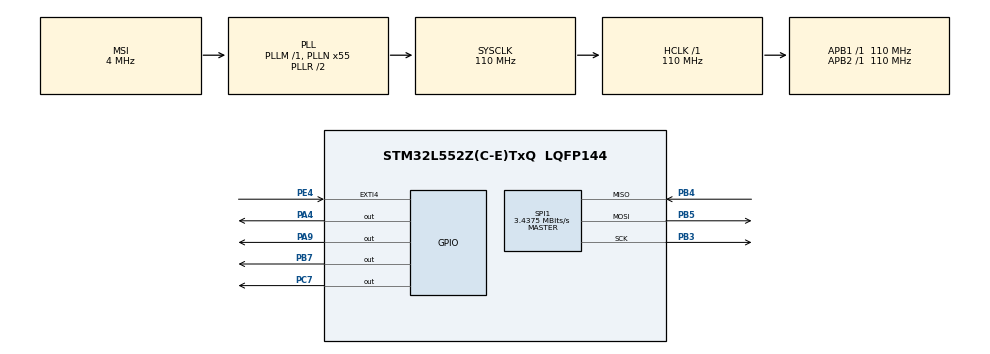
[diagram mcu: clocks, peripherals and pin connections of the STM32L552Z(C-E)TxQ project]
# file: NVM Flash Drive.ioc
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Mcu.Family=STM32L5
Mcu.Name=STM32L552Z(C-E)TxQ
Mcu.Package=LQFP144
Mcu.TrustZone=disable
NUCLEO-L552ZE-Q.BUTTON=1
NUCLEO-L552ZE-Q.LD1=true
NUCLEO-L552ZE-Q.LD2=true
NUCLEO-L552ZE-Q.LD3=true
NUCLEO-L552ZE-Q.VCP=true
NVIC.EXTI13_IRQn=true\:0\:0\:false\:false\:true\:false\:true\:true
NVIC.PriorityGroup=NVIC_PRIORITYGROUP_3
PA13\ (JTMS/SWDIO).Signal=DEBUG_JTMS-SWDIO
PA14\ (JTCK/SWCLK).Signal=DEBUG_JTCK-SWCLK
PA4.Signal=GPIO_Output
PA9.Signal=GPIO_Output
PB3\ (JTDO/TRACESWO).Mode=Full_Duplex_Master
PB3\ (JTDO/TRACESWO).Signal=SPI1_SCK
PB4\ (NJTRST).Mode=Full_Duplex_Master
PB4\ (NJTRST).Signal=SPI1_MISO
PB5.Mode=Full_Duplex_Master
PB5.Signal=SPI1_MOSI
PB7.Signal=GPIO_Output
PC13.Signal=PWR_WKUP2
PC14-OSC32_IN\ (PC14).Signal=RCC_OSC32_IN
PC15-OSC32_OUT\ (PC15).Signal=RCC_OSC32_OUT
PC7.Signal=GPIO_Output
PE4.GPIO_PuPd=GPIO_PULLDOWN
PE4.Signal=GPXTI4
PG7.Signal=LPUART1_TX
PG8.Signal=LPUART1_RX
ProjectManager.HeapSize=0x200
ProjectManager.StackSize=0x400
ProjectManager.TargetToolchain=STM32CubeIDE
RCC.ADCCLockSelection=RCC_ADCCLKSOURCE_SYSCLK
RCC.ADCFreq_Value=110000000
RCC.AHBFreq_Value=110000000
RCC.APB1Freq_Value=110000000
RCC.APB1TimFreq_Value=110000000
RCC.APB2Freq_Value=110000000
RCC.APB2TimFreq_Value=110000000
RCC.CK48CLockSelection=RCC_USBCLKSOURCE_HSI48
RCC.CortexFreq_Value=110000000
RCC.HCLKFreq_Value=110000000
RCC.HSE_VALUE=8000000
RCC.HSI48_VALUE=48000000
RCC.HSI_VALUE=16000000
RCC.LSE_VALUE=32768
RCC.MSI_VALUE=4000000
RCC.PLLN=55
RCC.PLLSAI1N=24
RCC.RTCClockSelection=RCC_RTCCLKSOURCE_LSE
RCC.SYSCLKFreq_VALUE=110000000
RCC.SYSCLKSource=RCC_SYSCLKSOURCE_PLLCLK
RCC.USBFreq_Value=48000000
RCC.VCOOutputFreq_Value=220000000
SPI1.BaudRatePrescaler=SPI_BAUDRATEPRESCALER_32
SPI1.CalculateBaudRate=3.4375 MBits/s
SPI1.Direction=SPI_DIRECTION_2LINES
SPI1.Mode=SPI_MODE_MASTER
SPI1.VirtualType=VM_MASTER
VP_ICACHE_VS_ICACHE.Mode=DirectMappedCache
VP_NUCLEO-L552ZE-Q_VS_BSP_COMMON.Mode=COMMON
VP_PWR_VS_DBSignals.Mode=DisableDeadBatterySignals
VP_PWR_VS_SECSignals.Mode=Security/Privilege
board=NUCLEO-L552ZE-Q

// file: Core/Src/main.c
/* USER CODE BEGIN Header */
/**
  ******************************************************************************
  * @file           : main.c
  * @brief          : Main program body
  ******************************************************************************
  * @attention
  *
  * Copyright (c) 2025 STMicroelectronics.
  * All rights reserved.
  *
  * This software is licensed under terms that can be found in the LICENSE file
  * in the root directory of this software component.
  * If no LICENSE file comes with this software, it is provided AS-IS.
  *
  ******************************************************************************
  */
/* USER CODE END Header */
#include "main.h"

/* USER CODE BEGIN Includes */
#include <stdlib.h>
#include <string.h>
#include <stdbool.h>

#include "nvm_driver.h"
#include "ftl.h"
/* USER CODE END Includes */

COM_InitTypeDef BspCOMInit;

SPI_HandleTypeDef hspi1;

void SystemClock_Config(void);
static void MX_GPIO_Init(void);
static void MX_ICACHE_Init(void);
static void MX_SPI1_Init(void);

int main(void)
{

  /* MCU Configuration--------------------------------------------------------*/

  /* Reset of all peripherals, Initializes the Flash interface and the Systick. */
  HAL_Init();

  /* Configure the system clock */
  SystemClock_Config();

  /* Initialize all configured peripherals */
  MX_GPIO_Init();
  MX_ICACHE_Init();
  MX_SPI1_Init();

  /* Initialize leds */
  BSP_LED_Init(LED_GREEN);
  BSP_LED_Init(LED_BLUE);
  BSP_LED_Init(LED_RED);

  /* Initialize USER push-button, will be used to trigger an interrupt each time it's pressed.*/
  BSP_PB_Init(BUTTON_USER, BUTTON_MODE_EXTI);

  /* Initialize COM1 port (115200, 8 bits (7-bit data + 1 stop bit), no parity */
  BspCOMInit.BaudRate   = 115200;
  BspCOMInit.WordLength = COM_WORDLENGTH_8B;
  BspCOMInit.StopBits   = COM_STOPBITS_1;
  BspCOMInit.Parity     = COM_PARITY_NONE;
  BspCOMInit.HwFlowCtl  = COM_HWCONTROL_NONE;
  if (BSP_COM_Init(COM1, &BspCOMInit) != BSP_ERROR_NONE)
  {
    Error_Handler();
  }

  /* Infinite loop */
  /* USER CODE BEGIN WHILE */

  HAL_Delay(1000);

//  ftl_format();

  // do this on every power cycle
  if (ftl_mount() != 0){
	  printf("there was an error in the mounting! \r\n");
  }
  else printf("=================== successfully mounted! ================= \r\n");
  ftl_state_view_t st = ftl_get_state();
	printf("head=%lu tail=%lu next=%lu next_id=%lu mounted=%d\r\n",
		   (unsigned long)st.head_idx,
		   (unsigned long)st.tail_idx,
		   (unsigned long)st.next_idx,
		   (unsigned long)st.next_id,
		   (int)st.mounted);
	test_update();

  printf("Test Complete\r\n");

  while (1)
  {
    /* USER CODE END WHILE */

  }
}

void SystemClock_Config(void)
{
  RCC_OscInitTypeDef RCC_OscInitStruct = {0};
  RCC_ClkInitTypeDef RCC_ClkInitStruct = {0};

  /** Configure the main internal regulator output voltage
  */
  if (HAL_PWREx_ControlVoltageScaling(PWR_REGULATOR_VOLTAGE_SCALE0) != HAL_OK)
  {
    Error_Handler();
  }

  /** Initializes the RCC Oscillators according to the specified parameters
  * in the RCC_OscInitTypeDef structure.
  */
  RCC_OscInitStruct.OscillatorType = RCC_OSCILLATORTYPE_MSI;
  RCC_OscInitStruct.MSIState = RCC_MSI_ON;
  RCC_OscInitStruct.MSICalibrationValue = RCC_MSICALIBRATION_DEFAULT;
  RCC_OscInitStruct.MSIClockRange = RCC_MSIRANGE_6;
  RCC_OscInitStruct.PLL.PLLState = RCC_PLL_ON;
  RCC_OscInitStruct.PLL.PLLSource = RCC_PLLSOURCE_MSI;
  RCC_OscInitStruct.PLL.PLLM = 1;
  RCC_OscInitStruct.PLL.PLLN = 55;
  RCC_OscInitStruct.PLL.PLLP = RCC_PLLP_DIV7;
  RCC_OscInitStruct.PLL.PLLQ = RCC_PLLQ_DIV2;
  RCC_OscInitStruct.PLL.PLLR = RCC_PLLR_DIV2;
  if (HAL_RCC_OscConfig(&RCC_OscInitStruct) != HAL_OK)
  {
    Error_Handler();
  }

  /** Initializes the CPU, AHB and APB buses clocks
  */
  RCC_ClkInitStruct.ClockType = RCC_CLOCKTYPE_HCLK|RCC_CLOCKTYPE_SYSCLK
                              |RCC_CLOCKTYPE_PCLK1|RCC_CLOCKTYPE_PCLK2;
  RCC_ClkInitStruct.SYSCLKSource = RCC_SYSCLKSOURCE_PLLCLK;
  RCC_ClkInitStruct.AHBCLKDivider = RCC_SYSCLK_DIV1;
  RCC_ClkInitStruct.APB1CLKDivider = RCC_HCLK_DIV1;
  RCC_ClkInitStruct.APB2CLKDivider = RCC_HCLK_DIV1;

  if (HAL_RCC_ClockConfig(&RCC_ClkInitStruct, FLASH_LATENCY_5) != HAL_OK)
  {
    Error_Handler();
  }
}

static void MX_ICACHE_Init(void)
{

  /** Enable instruction cache in 1-way (direct mapped cache)
  */
  if (HAL_ICACHE_ConfigAssociativityMode(ICACHE_1WAY) != HAL_OK)
  {
    Error_Handler();
  }
  if (HAL_ICACHE_Enable() != HAL_OK)
  {
    Error_Handler();
  }

}

static void MX_SPI1_Init(void)
{

  /* SPI1 parameter configuration*/
  hspi1.Instance = SPI1;
  hspi1.Init.Mode = SPI_MODE_MASTER;
  hspi1.Init.Direction = SPI_DIRECTION_2LINES;
  hspi1.Init.DataSize = SPI_DATASIZE_8BIT;
  hspi1.Init.CLKPolarity = SPI_POLARITY_LOW;
  hspi1.Init.CLKPhase = SPI_PHASE_1EDGE;
  hspi1.Init.NSS = SPI_NSS_SOFT;
  hspi1.Init.BaudRatePrescaler = SPI_BAUDRATEPRESCALER_32;
  hspi1.Init.FirstBit = SPI_FIRSTBIT_MSB;
  hspi1.Init.TIMode = SPI_TIMODE_DISABLE;
  hspi1.Init.CRCCalculation = SPI_CRCCALCULATION_DISABLE;
  hspi1.Init.CRCPolynomial = 7;
  hspi1.Init.CRCLength = SPI_CRC_LENGTH_DATASIZE;
  hspi1.Init.NSSPMode = SPI_NSS_PULSE_ENABLE;
  if (HAL_SPI_Init(&hspi1) != HAL_OK)
  {
    Error_Handler();
  }

}

static void MX_GPIO_Init(void)
{
  GPIO_InitTypeDef GPIO_InitStruct = {0};

  /* GPIO Ports Clock Enable */
  __HAL_RCC_GPIOE_CLK_ENABLE();
  __HAL_RCC_GPIOC_CLK_ENABLE();
  __HAL_RCC_GPIOA_CLK_ENABLE();
  __HAL_RCC_GPIOB_CLK_ENABLE();

  /*Configure GPIO pin Output Level */
  HAL_GPIO_WritePin(GPIOA, GPIO_PIN_4, GPIO_PIN_RESET);

  /*Configure GPIO pin : PE4 */
  GPIO_InitStruct.Pin = GPIO_PIN_4;
  GPIO_InitStruct.Mode = GPIO_MODE_IT_RISING;
  GPIO_InitStruct.Pull = GPIO_PULLDOWN;
  HAL_GPIO_Init(GPIOE, &GPIO_InitStruct);

  /*Configure GPIO pin : PA4 */
  GPIO_InitStruct.Pin = GPIO_PIN_4;
  GPIO_InitStruct.Mode = GPIO_MODE_OUTPUT_PP;
  GPIO_InitStruct.Pull = GPIO_NOPULL;
  GPIO_InitStruct.Speed = GPIO_SPEED_FREQ_LOW;
  HAL_GPIO_Init(GPIOA, &GPIO_InitStruct);

}

void Error_Handler(void)
{
  __disable_irq();
  while (1)
  {
  }
}
